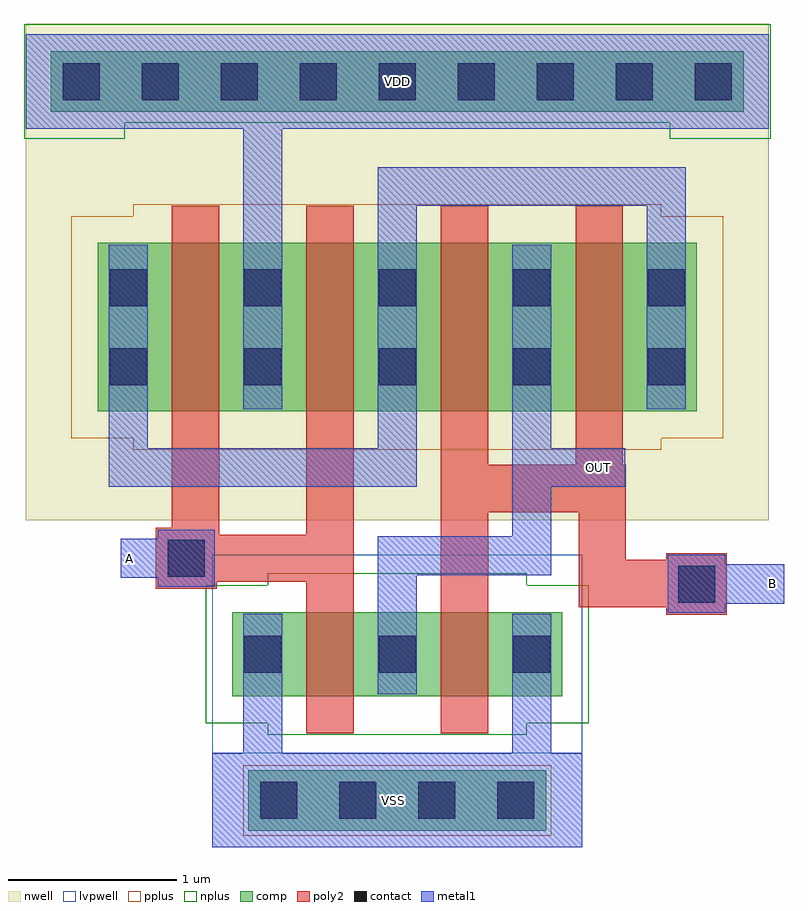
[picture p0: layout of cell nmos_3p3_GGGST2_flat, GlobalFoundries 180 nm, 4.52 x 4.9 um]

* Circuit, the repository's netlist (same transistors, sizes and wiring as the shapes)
* NGSPICE file created from NOR_Layout.ext - technology: gf180mcuC

.subckt pmos_3p3_MEVUAR a_n196_n100# a_n52_n100# w_n282_n230# a_108_n100# a_52_n144#
+ a_n108_n144#
X0 a_n52_n100# a_n108_n144# a_n196_n100# w_n282_n230# pfet_03v3 ad=0.26p pd=1.52u as=0.44p ps=2.88u w=1u l=0.28u
X1 a_108_n100# a_52_n144# a_n52_n100# w_n282_n230# pfet_03v3 ad=0.44p pd=2.88u as=0.26p ps=1.52u w=1u l=0.28u
.ends

.subckt nmos_3p3_GGGST2 a_n28_n94# a_n116_n50# a_28_n50# VSUBS
X0 a_28_n50# a_n28_n94# a_n116_n50# VSUBS nfet_03v3 ad=0.22p pd=1.88u as=0.22p ps=1.88u w=0.5u l=0.28u
.ends

.subckt NOR_Layout A B OUT VDD VSS
Xpmos_3p3_MEVUAR_0 m1_99_317# OUT VDD m1_99_317# B B pmos_3p3_MEVUAR
Xpmos_3p3_MEVUAR_1 m1_99_317# VDD VDD m1_99_317# A A pmos_3p3_MEVUAR
Xnmos_3p3_GGGST2_0 B OUT VSS VSS nmos_3p3_GGGST2
Xnmos_3p3_GGGST2_1 A VSS OUT VSS nmos_3p3_GGGST2
.ends

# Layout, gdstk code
import gdstk
lib = gdstk.Library(unit=1e-6, precision=1e-09)
def R(c, l, rs):  # rectangles x0, y0, x1, y1
    for r in rs: c.add(gdstk.rectangle(r[:2], r[2:], *l))
def A(c, l, x, y, w, h, nx, ny, dx, dy):  # array of equal rectangles
    R(c, l, [(x+i*dx, y+j*dy, x+i*dx+w, y+j*dy+h) for i in range(nx) for j in range(ny)])
nwell = (21, 0)
comp = (22, 0)
poly2 = (30, 0)
pplus = (31, 0)
nplus = (32, 0)
contact = (33, 0)
metal1 = (34, 0)
lvpwell = (204, 0)

nmos_3p3_gggst2_flat = lib.new_cell('nmos_3p3_GGGST2_flat')
R(nmos_3p3_gggst2_flat, nwell, [(0,1.385,4.42,4.34)])
R(nmos_3p3_gggst2_flat, comp, [(1.325,-0.46,3.095,-0.1), (1.23,0.34,3.19,0.84), (0.43,2.035,3.99,3.035), (0.15,3.815,4.27,4.175)])
R(nmos_3p3_gggst2_flat, poly2, [(1.67,0.12,1.95,1.02), (2.47,0.12,2.75,1.435), (3.81,0.825,4.17,0.87), (3.29,0.87,4.17,1.15), (0.775,0.98,1.135,1.02), (0.775,1.02,1.95,1.3), (3.29,1.15,3.57,1.435), (3.81,1.15,4.17,1.19), (0.775,1.3,1.15,1.34), (1.67,1.3,1.95,3.255), (0.87,1.34,1.15,3.255), (2.47,1.435,3.57,1.715), (2.47,1.715,2.75,3.255), (3.27,1.715,3.55,3.255)])
R(nmos_3p3_gggst2_flat, pplus, [(1.295,-0.49,3.125,-0.07), (0.64,1.805,3.78,1.875), (0.27,1.875,4.15,3.195), (0.64,3.195,3.78,3.265)])
R(nmos_3p3_gggst2_flat, nplus, [(1.44,0.11,2.98,0.18), (1.07,0.18,3.35,1), (1.44,1,2.98,1.07), (-0.01,3.655,0.59,3.75), (3.83,3.655,4.43,3.75), (-0.01,3.75,4.43,4.335)])
A(nmos_3p3_gggst2_flat, contact, 1.395, -0.39, 0.22, 0.22, 4, 1, 0.47, 0)
A(nmos_3p3_gggst2_flat, contact, 1.3, 0.48, 0.22, 0.22, 3, 1, 0.8, 0)
A(nmos_3p3_gggst2_flat, contact, 0.5, 2.19, 0.22, 0.22, 5, 2, 0.8, 0.47)
A(nmos_3p3_gggst2_flat, contact, 0.22, 3.885, 0.22, 0.22, 9, 1, 0.47, 0)
R(nmos_3p3_gggst2_flat, contact, [(3.88,0.895,4.1,1.115), (0.845,1.05,1.065,1.27)])
R(nmos_3p3_gggst2_flat, metal1, [(1.11,-0.56,3.31,0), (1.295,0,1.525,0.83), (2.895,0,3.125,0.83), (2.095,0.35,2.325,1.06), (3.82,0.835,4.16,0.89), (3.82,0.89,4.51,1.125), (0.785,0.99,1.125,1.045), (0.565,1.045,1.125,1.275), (2.095,1.06,3.125,1.29), (3.82,1.125,4.16,1.18), (0.785,1.275,1.125,1.33), (2.895,1.29,3.125,1.585), (0.495,1.585,2.325,1.815), (2.895,1.585,3.565,1.815), (0.495,1.815,0.725,3.025), (2.095,1.815,2.325,3.255), (2.895,1.815,3.125,3.025), (1.295,2.045,1.525,3.715), (3.695,2.045,3.925,3.255), (2.095,3.255,3.925,3.485), (0,3.715,4.42,4.275)])
R(nmos_3p3_gggst2_flat, lvpwell, [(1.11,0,3.31,1.18)])
nmos_3p3_gggst2_flat.add(gdstk.Label('A', (0.615,1.16), layer=34, texttype=10))
nmos_3p3_gggst2_flat.add(gdstk.Label('B', (4.44,1.01), layer=34, texttype=10))
nmos_3p3_gggst2_flat.add(gdstk.Label('OUT', (3.405,1.7), layer=34, texttype=10))
nmos_3p3_gggst2_flat.add(gdstk.Label('VDD', (2.21,3.995), layer=22, texttype=0))
nmos_3p3_gggst2_flat.add(gdstk.Label('VSS', (2.185,-0.28), layer=34, texttype=10))

lib.write_gds('nmos_3p3_GGGST2_flat.gds')
